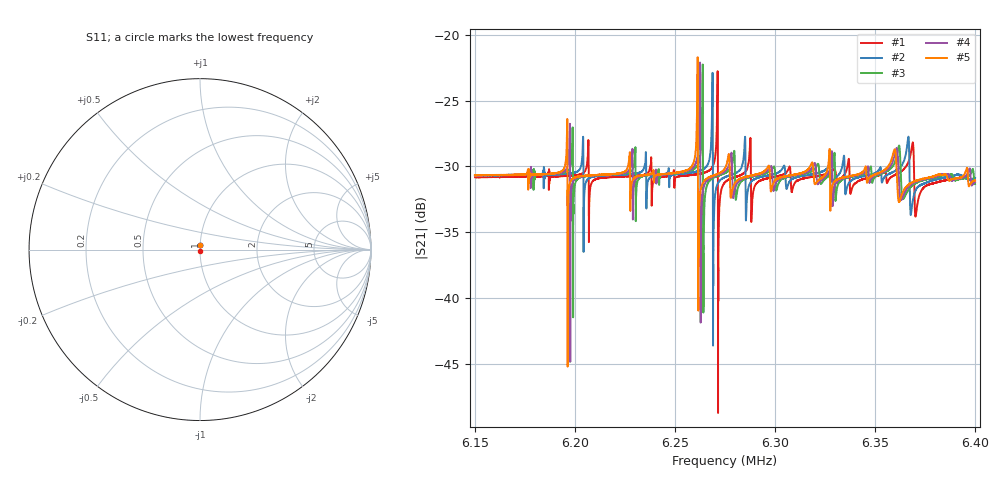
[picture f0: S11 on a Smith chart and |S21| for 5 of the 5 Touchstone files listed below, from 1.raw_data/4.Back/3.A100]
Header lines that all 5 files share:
!CETC41,AV3656A,ZGL00048,1.3.2
!Calibration ON (Full Solt 2-Port(Omit Isolation))
!Measurements: S11 S21 S12 S22
# Hz  S  dB  R 50.000
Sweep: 6.15 MHz to 6.4 MHz
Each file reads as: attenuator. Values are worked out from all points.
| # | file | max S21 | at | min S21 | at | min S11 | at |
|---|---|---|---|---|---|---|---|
| 1 | A100_20C.s2p | -22.75 dB | 6.2713 MHz | -48.8 dB | 6.2715 MHz | -44.8 dB | 6.2999 MHz |
| 2 | A100_30C.s2p | -22.88 dB | 6.2688 MHz | -43.6 dB | 6.269 MHz | -31.2 dB | 6.3989 MHz |
| 3 | A100_50C.s2p | -22.24 dB | 6.2639 MHz | -41.5 dB | 6.1991 MHz | -31.3 dB | 6.3957 MHz |
| 4 | A100_55C.s2p | -22.09 dB | 6.2625 MHz | -44.9 dB | 6.1976 MHz | -31.3 dB | 6.3979 MHz |
| 5 | A100_60C.s2p | -21.69 dB | 6.2613 MHz | -45.2 dB | 6.1963 MHz | -31.3 dB | 6.3998 MHz |
